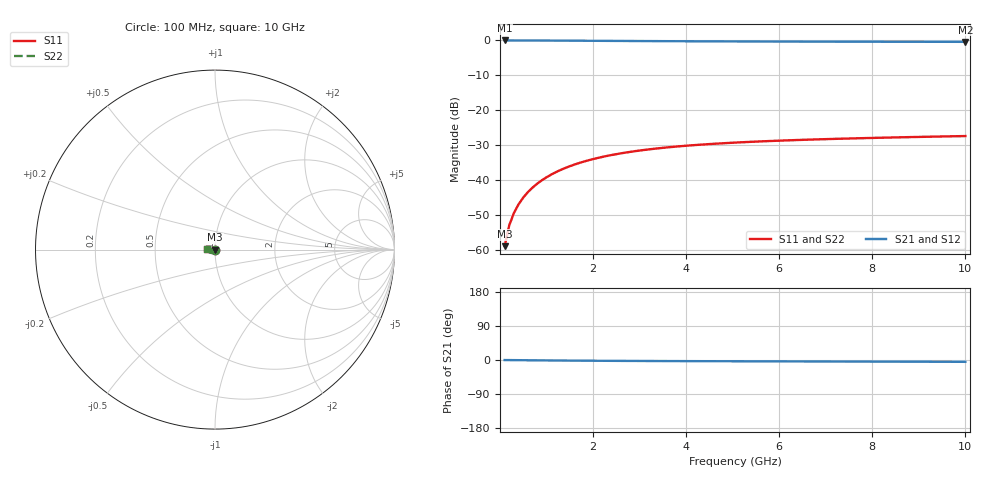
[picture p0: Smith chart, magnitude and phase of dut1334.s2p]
! Touchstone file exported from HFSS 2024.1.0
!  File:  C:/UserFiles/LocalFiles/RDL_TSV_Batchsim/temp_TSV1_1334_1780375827.aedt
!  Generated:  12:55:03 PM Jun  2, 2026
!  Design:  TSV1
!  Project:  temp_TSV1_1334_1780375827
!  Setup:  Setup1
!  Solution:  Sweep
! Variables:
!  dtsv = 9.98um
!  hbump = 3um
!  htsv = 74.67um
!  lrdl = 252.1521522um
!  p = 40
!  p1 = 49.31um
!  t = 500um
!  trdl = 3um
!  wrdl = 24.89489489um
# GHz S MA R 50.000000
! Terminal data exported
! Port[1] = TSV22_T1
! Port[2] = TSV22_T2
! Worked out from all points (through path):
!   100 points, 100 MHz to 10 GHz, reference 50 ohm
!   highest |S21| = 0.00 dB at 100 MHz (marker M1); lowest = -0.4 dB at 10 GHz (marker M2)
!   lowest |S11| = -58.9 dB at 100 MHz (marker M3), VSWR 1.00, Z = 50 - j0.114 ohm
!   |S11| at or under -10 dB: start of sweep to end of sweep
!   |S22| runs from -58.9 to -27.3 dB; largest |S21 - S12| = 5e-15
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0.1  0.001142 -84.8  0.9998 -0.1  0.9998 -0.1  0.001142 -84.8
! Gamma 0 0 0 0
! Port Impedance 50 0 50 0
0.2  0.002272 -89.9  0.9997 -0.2  0.9997 -0.2  0.002272 -89.9
0.3  0.003405 -92.8  0.9995 -0.3  0.9995 -0.3  0.003405 -92.8
0.4  0.004534 -95.1  0.9992 -0.5  0.9992 -0.5  0.004534 -95.1
0.5  0.005654 -97.3  0.9989 -0.6  0.9989 -0.6  0.005654 -97.3
0.6  0.006764 -99.3  0.9985 -0.7  0.9985 -0.7  0.006764 -99.3
0.7  0.007858 -101.3  0.9981 -0.8  0.9981 -0.8  0.007858 -101.3
0.8  0.008936 -103.1  0.9976 -0.9  0.9976 -0.9  0.008936 -103.1
0.9  0.009995 -105.0  0.997 -1.0  0.997 -1.0  0.009995 -105.0
1.1  0.01205 -108.5  0.9958 -1.2  0.9958 -1.2  0.01205 -108.5
1.4  0.01496 -113.6  0.9936 -1.5  0.9936 -1.5  0.01496 -113.6
1.6  0.01677 -116.8  0.992 -1.6  0.992 -1.6  0.01677 -116.8
1.8  0.01848 -119.9  0.9904 -1.8  0.9904 -1.8  0.01848 -119.9
2.1  0.02085 -124.3  0.9879 -2.0  0.9879 -2.0  0.02085 -124.3
2.5  0.02364 -129.7  0.9845 -2.3  0.9845 -2.3  0.02364 -129.7
2.9  0.02607 -134.6  0.9813 -2.5  0.9813 -2.5  0.02607 -134.6
3.4  0.02864 -140.2  0.9776 -2.7  0.9776 -2.7  0.02864 -140.2
4.2  0.03192 -148.0  0.9725 -3.1  0.9725 -3.1  0.03192 -148.0
5.1  0.03471 -155.3  0.9679 -3.4  0.9679 -3.4  0.03471 -155.3
6.7  0.03824 -165.9  0.962 -3.8  0.962 -3.8  0.03824 -165.9
8.4  0.0409 -174.8  0.9579 -4.4  0.9579 -4.4  0.0409 -174.8
10  0.04291 178.1  0.9552 -4.8  0.9552 -4.8  0.04291 178.1
